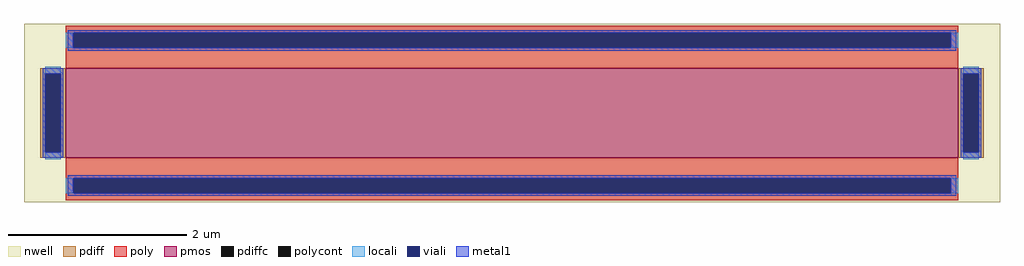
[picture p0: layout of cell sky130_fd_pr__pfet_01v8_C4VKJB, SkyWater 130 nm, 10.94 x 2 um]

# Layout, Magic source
magic
tech sky130A
<< nwell >>
rect -547 -100 547 100
<< pmos >>
rect -500 -50 500 50
<< pdiff >>
rect -529 44 -500 50
rect -529 -44 -523 44
rect -506 -44 -500 44
rect -529 -50 -500 -44
rect 500 44 529 50
rect 500 -44 506 44
rect 523 -44 529 44
rect 500 -50 529 -44
<< pdiffc >>
rect -523 -44 -506 44
rect 506 -44 523 44
<< poly >>
rect -500 90 500 98
rect -500 73 -492 90
rect 492 73 500 90
rect -500 50 500 73
rect -500 -73 500 -50
rect -500 -90 -492 -73
rect 492 -90 500 -73
rect -500 -98 500 -90
<< polycont >>
rect -492 73 492 90
rect -492 -90 492 -73
<< locali >>
rect -500 73 -492 90
rect 492 73 500 90
rect -523 44 -506 52
rect -523 -52 -506 -44
rect 506 44 523 52
rect 506 -52 523 -44
rect -500 -90 -492 -73
rect 492 -90 500 -73
<< viali >>
rect -492 73 492 90
rect -523 -44 -506 44
rect 506 -44 523 44
rect -492 -90 492 -73
<< metal1 >>
rect -498 90 498 93
rect -498 73 -492 90
rect 492 73 498 90
rect -498 70 498 73
rect -526 44 -503 50
rect -526 -44 -523 44
rect -506 -44 -503 44
rect -526 -50 -503 -44
rect 503 44 526 50
rect 503 -44 506 44
rect 523 -44 526 44
rect 503 -50 526 -44
rect -498 -73 498 -70
rect -498 -90 -492 -73
rect 492 -90 498 -73
rect -498 -93 498 -90
<< properties >>
string gencell sky130_fd_pr__pfet_01v8
string library sky130
string parameters w 1.0 l 10.0 m 1 nf 1 diffcov 100 polycov 100 guard 0 glc 1 grc 1 gtc 1 gbc 1 tbcov 100 rlcov 100 topc 1 botc 1 poverlap 0 doverlap 1 lmin 0.15 wmin 0.42 class mosfet compatible {sky130_fd_pr__pfet_01v8  sky130_fd_pr__pfet_01v8_lvt sky130_fd_pr__pfet_01v8_hvt  sky130_fd_pr__pfet_g5v0d10v5} full_metal 1 viasrc 100 viadrn 100 viagate 100 viagb 0 viagr 0 viagl 0 viagt 0
<< end >>
